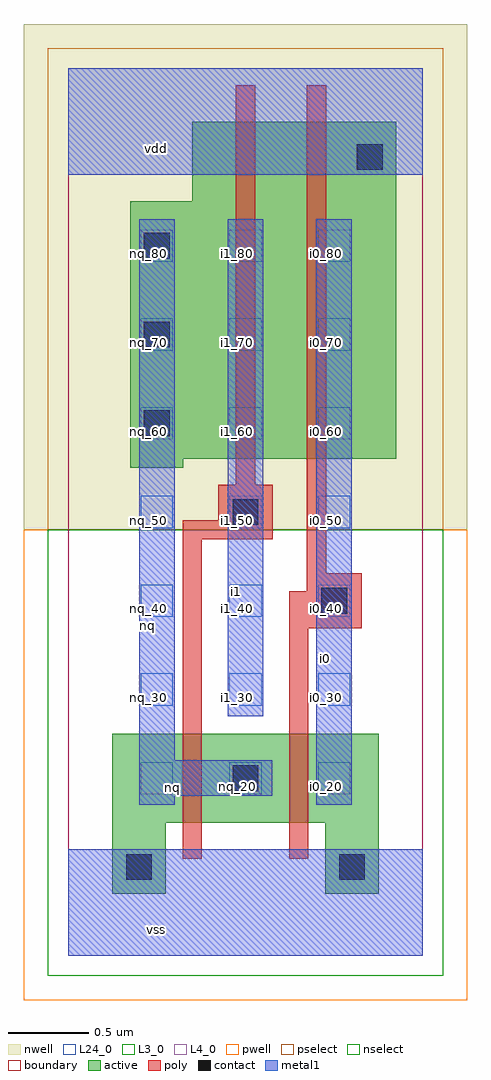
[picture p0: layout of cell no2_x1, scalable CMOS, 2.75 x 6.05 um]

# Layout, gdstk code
import gdstk
lib = gdstk.Library(unit=1e-6, precision=2.5e-09)
def R(c, l, rs):  # rectangles x0, y0, x1, y1
    for r in rs: c.add(gdstk.rectangle(r[:2], r[2:], *l))
def A(c, l, x, y, w, h, nx, ny, dx, dy):  # array of equal rectangles
    R(c, l, [(x+i*dx, y+j*dy, x+i*dx+w, y+j*dy+h) for i in range(nx) for j in range(ny)])
L3_0 = (3, 0)
L4_0 = (4, 0)
L24_0 = (24, 0)
contact = (25, 0)
pwell = (41, 0)
nwell = (42, 0)
active = (43, 0)
pselect = (44, 0)
nselect = (45, 0)
poly = (46, 0)
metal1 = (49, 0)
boundary = (63, 0)

no2_x1 = lib.new_cell('no2_x1')
R(no2_x1, L3_0, [(0.275,0.385,0.605,0.825), (1.595,0.385,1.925,0.825), (0.275,0.825,1.925,1.375)])
R(no2_x1, L4_0, [(0.385,3.025,0.715,3.08), (0.385,3.08,2.035,4.675), (0.77,4.675,2.035,5.17)])
A(no2_x1, L24_0, 0.45, 1, 0.2, 0.2, 3, 7, 0.55, 0.55)
A(no2_x1, contact, 0.47, 3.22, 0.16, 0.16, 1, 3, 0, 0.55)
R(no2_x1, contact, [(0.36,0.47,0.52,0.63), (1.68,0.47,1.84,0.63), (1.02,1.02,1.18,1.18), (1.57,2.12,1.73,2.28), (1.02,2.67,1.18,2.83), (1.79,4.87,1.95,5.03)])
R(no2_x1, pwell, [(-0.275,-0.275,2.475,2.64)])
R(no2_x1, nwell, [(-0.275,2.64,2.475,5.775)])
R(no2_x1, active, [(0.275,0.385,0.605,0.825), (1.595,0.385,1.925,0.825), (0.275,0.825,1.925,1.375), (0.385,3.025,0.715,3.08), (0.385,3.08,2.035,4.675), (0.77,4.675,2.035,5.17)])
R(no2_x1, pselect, [(-0.125,2.64,2.325,5.625)])
R(no2_x1, nselect, [(-0.125,-0.125,2.325,2.64)])
R(no2_x1, poly, [(0.71,0.6,0.83,2.58), (1.37,0.6,1.49,2.03), (1.37,2.03,1.82,2.26), (1.48,2.26,1.82,2.37), (1.48,2.37,1.6,5.395), (0.71,2.58,1.27,2.7), (0.93,2.7,1.27,2.92), (1.04,2.92,1.16,5.395)])
R(no2_x1, metal1, [(0,0,2.2,0.66), (0.44,0.935,0.66,0.99), (1.54,0.935,1.76,4.565), (0.44,0.99,1.265,1.21), (0.44,1.21,0.66,4.565), (0.99,1.485,1.21,4.565), (0,4.84,2.2,5.5)])
R(no2_x1, boundary, [(0,0,2.2,5.5)])
no2_x1.add(gdstk.Label('vss', (0.55,0.165), layer=49, texttype=0))
no2_x1.add(gdstk.Label('i0', (1.595,1.8425), layer=49, texttype=0))
no2_x1.add(gdstk.Label('nq', (0.645,1.045), layer=49, texttype=0))
no2_x1.add(gdstk.Label('i1', (1.045,2.255), layer=49, texttype=0))
no2_x1.add(gdstk.Label('nq', (0.495,2.0475), layer=49, texttype=0))
no2_x1.add(gdstk.Label('vdd', (0.55,5.005), layer=49, texttype=0))
no2_x1.add(gdstk.Label('nq_20', (1.05,1.05), layer=24, texttype=0))
no2_x1.add(gdstk.Label('i0_80', (1.6,4.35), layer=24, texttype=0))
no2_x1.add(gdstk.Label('i0_70', (1.6,3.8), layer=24, texttype=0))
no2_x1.add(gdstk.Label('i0_60', (1.6,3.25), layer=24, texttype=0))
no2_x1.add(gdstk.Label('i0_50', (1.6,2.7), layer=24, texttype=0))
no2_x1.add(gdstk.Label('i0_40', (1.6,2.15), layer=24, texttype=0))
no2_x1.add(gdstk.Label('i0_30', (1.6,1.6), layer=24, texttype=0))
no2_x1.add(gdstk.Label('i1_30', (1.05,1.6), layer=24, texttype=0))
no2_x1.add(gdstk.Label('i1_40', (1.05,2.15), layer=24, texttype=0))
no2_x1.add(gdstk.Label('i1_50', (1.05,2.7), layer=24, texttype=0))
no2_x1.add(gdstk.Label('i1_60', (1.05,3.25), layer=24, texttype=0))
no2_x1.add(gdstk.Label('i1_70', (1.05,3.8), layer=24, texttype=0))
no2_x1.add(gdstk.Label('i1_80', (1.05,4.35), layer=24, texttype=0))
no2_x1.add(gdstk.Label('nq_30', (0.5,1.6), layer=24, texttype=0))
no2_x1.add(gdstk.Label('nq_40', (0.5,2.15), layer=24, texttype=0))
no2_x1.add(gdstk.Label('nq_50', (0.5,2.7), layer=24, texttype=0))
no2_x1.add(gdstk.Label('nq_60', (0.5,3.25), layer=24, texttype=0))
no2_x1.add(gdstk.Label('nq_70', (0.5,3.8), layer=24, texttype=0))
no2_x1.add(gdstk.Label('nq_80', (0.5,4.35), layer=24, texttype=0))
no2_x1.add(gdstk.Label('nq_20', (0.5,1.05), layer=24, texttype=0))
no2_x1.add(gdstk.Label('i0_20', (1.6,1.05), layer=24, texttype=0))

lib.write_gds('no2_x1.gds')
